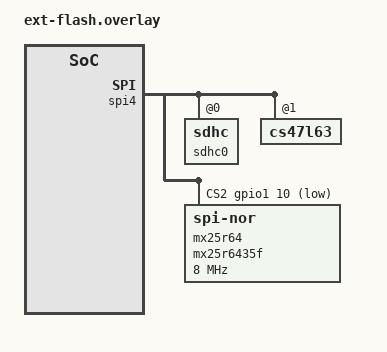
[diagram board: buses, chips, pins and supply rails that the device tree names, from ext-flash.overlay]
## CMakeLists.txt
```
#
# Copyright (c) 2022 Nordic Semiconductor ASA
#
# SPDX-License-Identifier: LicenseRef-Nordic-5-Clause
#

cmake_minimum_required(VERSION 3.20.0)

#if(CONFIG_AUDIO_DFU EQUAL 1)
#    list(APPEND mcuboot_OVERLAY_CONFIG
#        "${CMAKE_CURRENT_LIST_DIR}/dfu/conf/overlay-mcuboot.conf"
#        "\\\${ZEPHYR_NRF_MODULE_DIR}/subsys/partition_manager/partition_manager_enabled.conf"
#    )
#endif()

#if(CONFIG_AUDIO_DFU EQUAL 2)
#    list(APPEND mcuboot_OVERLAY_CONFIG
#        "${CMAKE_CURRENT_LIST_DIR}/dfu/conf/overlay-mcuboot_external_flash.conf"
#        "\\\${ZEPHYR_NRF_MODULE_DIR}/subsys/partition_manager/partition_manager_enabled.conf"
#    )
#    list(APPEND mcuboot_DTC_OVERLAY_FILE
#        "${CMAKE_CURRENT_LIST_DIR}/dfu/conf/overlay-dfu_external_flash.overlay"
#        "\\\${ZEPHYR_NRF_MODULE_DIR}/modules/mcuboot/flash_sim.overlay"
#    )
#    set(DTC_OVERLAY_FILE ${CMAKE_CURRENT_LIST_DIR}/dfu/conf/overlay-dfu_external_flash.overlay)
#    set(mcuboot_PM_STATIC_YML_FILE ${CMAKE_CURRENT_LIST_DIR}/dfu/conf/pm_dfu_external_flash.yml)
#    set(PM_STATIC_YML_FILE ${CMAKE_CURRENT_LIST_DIR}/dfu/conf/pm_dfu_external_flash.yml)
#endif()

# Flag which defines whether application is compiled as gateway/dongle or headset
add_compile_definitions(HEADSET=1)
add_compile_definitions(GATEWAY=2)

find_package(Zephyr REQUIRED HINTS $ENV{ZEPHYR_BASE})

project(NRF5340_AUDIO)

string(TIMESTAMP NRF5340_AUDIO_CORE_APP_COMP_DATE "%a %b %d %H:%M:%S %Y")

# Generate fw_info_app.c
configure_file("${CMAKE_CURRENT_SOURCE_DIR}/src/utils/fw_info_app.c.in"
               "${CMAKE_BINARY_DIR}/fw_info_app.c"
               @ONLY)

# Target sources below are specific to the nRF5340 Audio DK HW
target_sources(app PRIVATE
    src/nrf5340_audio_common.c
    ${CMAKE_BINARY_DIR}/fw_info_app.c
    )

if (CONFIG_BT_BAP_BROADCAST_SINK)
	add_subdirectory(broadcast_sink)
endif()

if (CONFIG_BT_BAP_BROADCAST_SOURCE)
	add_subdirectory(broadcast_source)
endif()

if (CONFIG_BT_BAP_UNICAST_CLIENT)
	add_subdirectory(unicast_client)
endif()

if (CONFIG_BT_BAP_UNICAST_SERVER)
	add_subdirectory(unicast_server)
endif()


# Include application events and configuration headers
zephyr_library_include_directories(
    include
    src/audio
    src/bluetooth
    src/drivers
    src/modules
    src/utils
    src/utils/macros
)

zephyr_library_include_directories(app PRIVATE
    ${ZEPHYR_NRF_MODULE_DIR}/boards/arm/nrf5340_audio_dk_nrf5340)

# Application sources
add_subdirectory(src/audio)
add_subdirectory(src/bluetooth)
add_subdirectory(src/drivers)
add_subdirectory(src/modules)
add_subdirectory(src/utils)

## Cirrus Logic
if (CONFIG_HW_CODEC_CIRRUS_LOGIC)
    if (ZEPHYR_CIRRUS_LOGIC_MODULE_DIR)
        add_subdirectory(${ZEPHYR_CIRRUS_LOGIC_MODULE_DIR} cirrus_logic_bin_dir)
    else()
        message(FATAL_ERROR "Cirrus Logic/sdk-mcu-drivers repository not found\n")
    endif()
endif()
```

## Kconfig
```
#
# Copyright (c) 2018 Nordic Semiconductor ASA
#
# SPDX-License-Identifier: LicenseRef-Nordic-5-Clause
#

menuconfig NRF5340_AUDIO
	 bool "nRF5340 Audio [EXPERIMENTAL]"
	 select EXPERIMENTAL

if NRF5340_AUDIO

config AUDIO_DEV
	int "Select which device type to compile for. 1=HEADSET or 2=GATEWAY"
	range 1 2
	default 1
	help
	  Setting this variable to 1 selects that the project is compiled
	  as a HEADSET device.
	  Setting to 2 will compile as a GATEWAY.

choice NRF5340_AUDIO_TRANSPORT_MODE
	prompt "Choose BIS or CIS for ISO transport"
	default TRANSPORT_CIS if WALKIE_TALKIE_DEMO
	default TRANSPORT_CIS

config TRANSPORT_BIS
	bool "Use BIS (Broadcast Isochronous Stream)"

config TRANSPORT_CIS
	bool "Use CIS (Connected Isochronous Stream)"

endchoice

#----------------------------------------------------------------------------#
if (TRANSPORT_BIS && AUDIO_DEV = 1)
rsource "broadcast_sink/Kconfig.defaults"
endif # TRANSPORT_BIS && AUDIO_DEV = 1

if (TRANSPORT_BIS && AUDIO_DEV = 2)
rsource "broadcast_source/Kconfig.defaults"
endif # TRANSPORT_BIS && AUDIO_DEV = 2

if (TRANSPORT_CIS && AUDIO_DEV = 1)
rsource "unicast_server/Kconfig.defaults"
endif # TRANSPORT_CIS && AUDIO_DEV = 1

if (TRANSPORT_CIS && AUDIO_DEV = 2)
rsource "unicast_client/Kconfig.defaults"
endif # TRANSPORT_CIS && AUDIO_DEV = 2



rsource "Kconfig.defaults"
rsource "src/audio/Kconfig"
rsource "src/bluetooth/Kconfig"
rsource "src/drivers/Kconfig"
rsource "src/modules/Kconfig"
rsource "src/utils/Kconfig"

#----------------------------------------------------------------------------#
menu "Logging"

module = MAIN
module-str = main
source "subsys/logging/Kconfig.template.log_config"

module = NRF5340_AUDIO_COMMON
module-str = nrf5340_audio_common
source "subsys/logging/Kconfig.template.log_config"

config PRINT_STACK_USAGE_MS
	depends on THREAD_ANALYZER && INIT_STACKS
	int "Print stack usage every x milliseconds"
	default 5000

endmenu # Log levels

#----------------------------------------------------------------------------#
endif # NRF5340_AUDIO

source "Kconfig.zephyr"
```

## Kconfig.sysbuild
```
#
# Copyright (c) 2024 Nordic Semiconductor
#
# SPDX-License-Identifier: LicenseRef-Nordic-5-Clause
#

config NRF_DEFAULT_IPC_RADIO
	default y

config AUDIO_DFU_EXTERNAL_FLASH
	bool "Audio Application DFU using external flash"
	default n
	help
	  Use external flash to store the images downloaded during DFU. This requires the external
	  flash shield with the MX25R6435F on the SPI bus.

choice BOOTLOADER
	default BOOTLOADER_MCUBOOT
endchoice

config SECURE_BOOT
	default y if AUDIO_DFU_EXTERNAL_FLASH

config SECURE_BOOT_NETCORE
	default y if AUDIO_DFU_EXTERNAL_FLASH

config NETCORE_APP_UPDATE
	default y if AUDIO_DFU_EXTERNAL_FLASH

config PM_EXTERNAL_FLASH_MCUBOOT_SECONDARY
	default y if AUDIO_DFU_EXTERNAL_FLASH

config PM_OVERRIDE_EXTERNAL_DRIVER_CHECK
	default y if AUDIO_DFU_EXTERNAL_FLASH

source "${ZEPHYR_BASE}/share/sysbuild/Kconfig"
```

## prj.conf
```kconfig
#
# Copyright (c) 2022 Nordic Semiconductor ASA
#
# SPDX-License-Identifier: LicenseRef-Nordic-5-Clause
#

# nRF5340 Audio
CONFIG_NRF5340_AUDIO=y

CONFIG_SAMPLE_RATE_CONVERTER=y
CONFIG_SAMPLE_RATE_CONVERTER_FILTER_SIMPLE=y

# General
CONFIG_DEBUG=n
CONFIG_DEBUG_INFO=n
CONFIG_ASSERT=n
CONFIG_STACK_USAGE=y
CONFIG_THREAD_RUNTIME_STATS=y
CONFIG_STACK_SENTINEL=y
CONFIG_INIT_STACKS=y

# Uart driver
CONFIG_SERIAL=y

# Logging
CONFIG_LOG=y
CONFIG_NEWLIB_LIBC_FLOAT_PRINTF=y
CONFIG_LOG_TAG_MAX_LEN=2
CONFIG_LOG_TAG_DEFAULT="--"
CONFIG_LOG_BACKEND_UART=y
CONFIG_LOG_BUFFER_SIZE=4096

# Use this for debugging thread usage
#CONFIG_LOG_THREAD_ID_PREFIX=y

# Console related defines
CONFIG_CONSOLE=y
CONFIG_RTT_CONSOLE=y
CONFIG_UART_CONSOLE=y

# Shell related defines
CONFIG_SHELL=y
CONFIG_KERNEL_SHELL=y
CONFIG_USE_SEGGER_RTT=y
## Disable logs on RTT
CONFIG_SHELL_RTT_INIT_LOG_LEVEL_NONE=y
CONFIG_SHELL_BACKEND_RTT=y
CONFIG_SHELL_BACKEND_SERIAL=n
CONFIG_SHELL_VT100_COMMANDS=y
CONFIG_SHELL_VT100_COLORS=y
CONFIG_SHELL_STACK_SIZE=4096
CONFIG_SHELL_CMD_BUFF_SIZE=128
## Reduce shell memory usage
CONFIG_SHELL_WILDCARD=n
CONFIG_SHELL_HELP_ON_WRONG_ARGUMENT_COUNT=n
CONFIG_SHELL_STATS=n
CONFIG_SHELL_CMDS=n
CONFIG_SHELL_HISTORY=y

# Turn off default shell commands
CONFIG_I2C_SHELL=n
CONFIG_HWINFO_SHELL=n
CONFIG_CLOCK_CONTROL_NRF_SHELL=n
CONFIG_FLASH_SHELL=n
CONFIG_DEVICE_SHELL=n

# Suppress LOG_ERR messages from sd_check_card_type. Because SPI_SDHC has no card presence method,
# assume card is in slot. Thus error message is always shown if card is not inserted
CONFIG_SD_LOG_LEVEL_OFF=y

# Suppress LOG_INF messages from hci_core
#CONFIG_BT_HCI_CORE_LOG_LEVEL_WRN=y

CONFIG_SIZE_OPTIMIZATIONS=y
CONFIG_AUDIO_BT_MGMT_DFU=y
CONFIG_BT_DEVICE_NAME="anvi-audio"
```

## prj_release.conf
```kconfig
#
# Copyright (c) 2022 Nordic Semiconductor ASA
#
# SPDX-License-Identifier: LicenseRef-Nordic-5-Clause
#

# nRF5340 Audio
CONFIG_NRF5340_AUDIO=y

CONFIG_SAMPLE_RATE_CONVERTER=y
CONFIG_SAMPLE_RATE_CONVERTER_FILTER_SIMPLE=y

# General
CONFIG_DEBUG=n
CONFIG_ASSERT=n
CONFIG_STACK_USAGE=n
CONFIG_THREAD_MONITOR=n
CONFIG_SERIAL=n
CONFIG_CONSOLE=n
CONFIG_PRINTK=n
CONFIG_UART_CONSOLE=n
CONFIG_BOOT_BANNER=n

# Bluetooth
# Default value from src/bluetooth/Kconfig.defaults.
# BT_PRIVACY is default turned off to ease the development.
# Should be turned on before production.
# CONFIG_BT_PRIVACY=y

# USB
# Default values from src/modules/Kconfig.defaults.
# USB VID and PID must be changed before production.
# CONFIG_USB_DEVICE_VID=0x1915
# CONFIG_USB_DEVICE_PID=0x530A

CONFIG_AUDIO_BT_MGMT_DFU=y
CONFIG_MCUMGR_TRANSPORT_BT_AUTHEN=n
```

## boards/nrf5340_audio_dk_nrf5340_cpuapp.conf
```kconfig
#
# Copyright (c) 2024 Nordic Semiconductor ASA
#
# SPDX-License-Identifier: LicenseRef-Nordic-5-Clause
#

CONFIG_NRF5340_AUDIO_CS47L63_DRIVER=y
CONFIG_NRF5340_AUDIO_POWER_MEASURMENT=y
```

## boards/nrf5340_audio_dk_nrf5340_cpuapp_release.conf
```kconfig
#
# Copyright (c) 2024 Nordic Semiconductor ASA
#
# SPDX-License-Identifier: LicenseRef-Nordic-5-Clause
#

CONFIG_NRF5340_AUDIO_CS47L63_DRIVER=y
```

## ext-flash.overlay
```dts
/ {
	chosen {
		zephyr,code-partition = &boot_partition;
		nordic,pm-ext-flash = &mx25r64;
	};
};

&qspi {
	status = "disabled";
};

&spi4 {
	cs-gpios = <&gpio0 11 GPIO_ACTIVE_LOW>, <&gpio0 17 GPIO_ACTIVE_LOW>, < &gpio1 10 GPIO_ACTIVE_LOW >;
	status = "okay";
	sdhc0: sdhc@0 {
		status = "okay";
	};
	cs47l63: cs47l63@1 {
		status = "okay";
	};
	mx25r64: mx25r6435f@2 {

		compatible = "jedec,spi-nor";
		reg = <2>;
		spi-max-frequency = <8000000>;

		jedec-id = [c2 28 17];
		sfdp-bfp = [
			e5 20 f1 ff  ff ff ff 03  44 eb 08 6b  08 3b 04 bb
			ee ff ff ff  ff ff 00 ff  ff ff 00 ff  0c 20 0f 52
			10 d8 00 ff  23 72 f5 00  82 ed 04 cc  44 83 68 44
			30 b0 30 b0  f7 c4 d5 5c  00 be 29 ff  f0 d0 ff ff
		];
		size = <67108864>;
		has-dpd;
		t-enter-dpd = <10000>;
		t-exit-dpd = <5000>;
		dpd-wakeup-sequence = <30000 20 45000>;
	};
};

&gpio_fwd {
	uart {
		gpios = < &gpio1 0x9 0x0 >, < &gpio1 0x8 0x0 >, < &gpio1 0xb 0x0 >;
	};
};
```

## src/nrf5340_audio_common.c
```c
/*
 * Copyright (c) 2023 Nordic Semiconductor ASA
 *
 * SPDX-License-Identifier: LicenseRef-Nordic-5-Clause
 */

#include "bt_mgmt.h"
#include "fw_info_app.h"
#include "nrfx_clock.h"

#include <zephyr/logging/log.h>
LOG_MODULE_REGISTER(nrf5340_audio_common, CONFIG_NRF5340_AUDIO_COMMON_LOG_LEVEL);

int nrf5340_audio_common_init(void)
{
	int ret;

	ret = fw_info_app_print();
	if (ret) {
		LOG_ERR("Failed to print application FW info");
		return ret;
	}

	ret = bt_mgmt_init();
	if (ret) {
		LOG_ERR("Failed to initialize bt_mgmt");
		return ret;
	}

	/* Use this to turn on 128 MHz clock for cpu_app */
	ret = nrfx_clock_divider_set(NRF_CLOCK_DOMAIN_HFCLK, NRF_CLOCK_HFCLK_DIV_1);
	ret -= NRFX_ERROR_BASE_NUM;
	if (ret) {
		return ret;
	}

	return 0;
}
```
